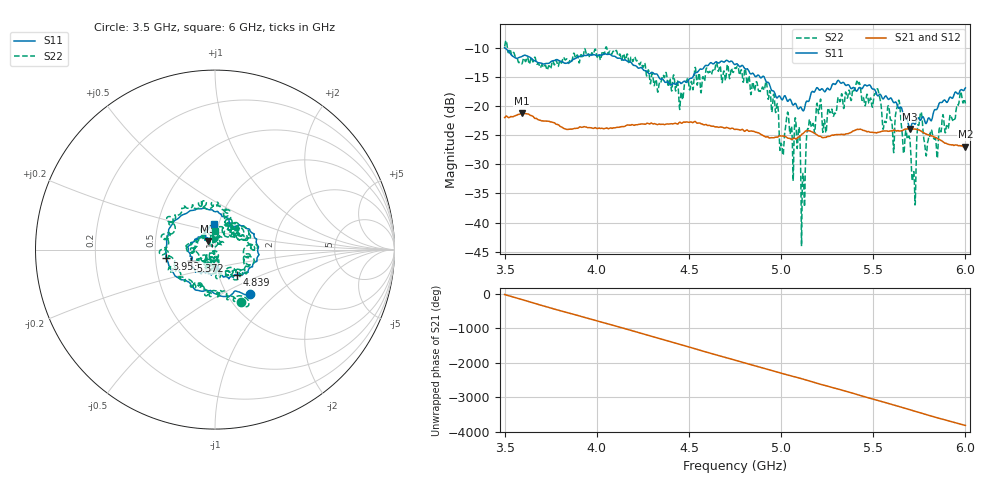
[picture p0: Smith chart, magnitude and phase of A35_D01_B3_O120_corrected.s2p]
! Created with skrf 1.9.0 (http://scikit-rf.org).
# Hz S RI R 50.0
!freq ReS11 ImS11 ReS21 ImS21 ReS12 ImS12 ReS22 ImS22
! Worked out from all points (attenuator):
!   1601 points, 3.5 GHz to 6 GHz, reference 50 ohm
!   highest |S21| = -21.27 dB at 3.592 GHz (marker M1); lowest = -27.0 dB at 6 GHz (marker M2)
!   lowest |S11| = -24.0 dB at 5.698 GHz (marker M3), VSWR 1.14, Z = 45.8 + j4.43 ohm
!   |S11| at or under -10 dB: 3.5 GHz to end of sweep
!   |S22| runs from -44.0 to -8.8 dB; largest |S21 - S12| = 0.0011
!   S11 on the Smith chart (normalised r, x): 3.5 GHz: 1.27, -0.70; 3.953 GHz: 0.57, -0.06; 4.839 GHz: 1.23, -0.36; 5.372 GHz: 0.76, -0.10; 6 GHz: 0.95, +0.28
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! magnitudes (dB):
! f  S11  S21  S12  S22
! 3.5 GHz  -10.0  -22.0  -22.0  -9.8
! 3.592 GHz  -11.5  -21.3  -21.3  -12.7
! 3.917 GHz  -11.5  -23.7  -23.7  -11.2
! 3.953 GHz  -11.2  -23.7  -23.7  -11.0
! 4.334 GHz  -14.9  -23.1  -23.1  -17.1
! 4.75 GHz  -12.9  -24.0  -24.0  -13.4
! 4.839 GHz  -14.5  -24.3  -24.3  -17.6
! 4.97 GHz  -18.2  -25.3  -25.3  -21.1
! 5.003 GHz  -18.9  -25.2  -25.2  -26.6
! 5.031 GHz  -19.0  -25.4  -25.3  -21.7
! 5.088 GHz  -20.2  -25.5  -25.5  -27.3
! 5.119 GHz  -20.8  -24.7  -24.7  -31.6
! 5.147 GHz  -19.2  -24.3  -24.3  -23.9
! 5.167 GHz  -17.5  -24.4  -24.4  -23.6
! 5.372 GHz  -16.6  -24.6  -24.6  -17.6
! 5.584 GHz  -18.9  -24.3  -24.3  -20.0
! 5.638 GHz  -20.4  -24.2  -24.2  -19.0
! 5.698 GHz  -24.0  -23.9  -23.9  -25.6
! 5.719 GHz  -22.9  -24.0  -23.9  -31.4
! 5.753 GHz  -22.4  -24.2  -24.1  -21.9
! 5.841 GHz  -20.6  -25.4  -25.4  -26.3
! 6 GHz  -16.9  -27.0  -27.0  -19.6
